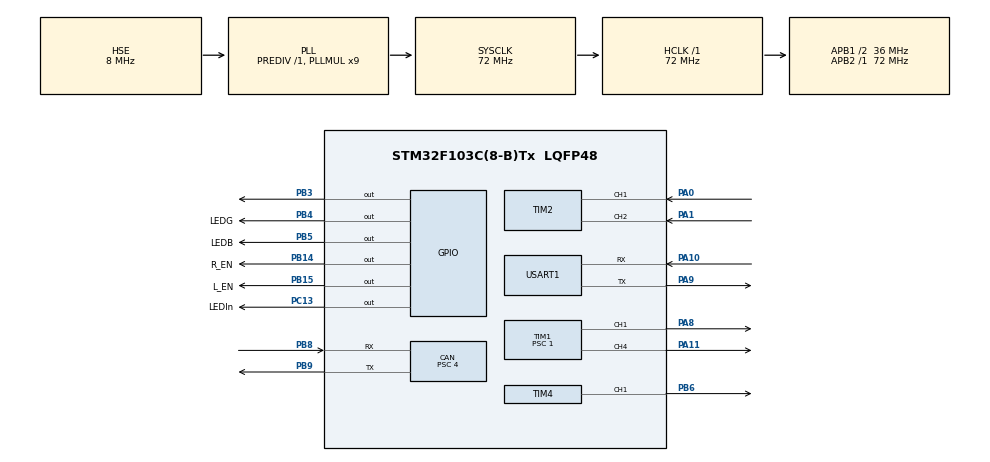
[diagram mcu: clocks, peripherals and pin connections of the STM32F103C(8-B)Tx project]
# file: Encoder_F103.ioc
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CAN.BS1=CAN_BS1_13TQ
CAN.BS2=CAN_BS2_4TQ
CAN.CalculateBaudRate=500000
CAN.CalculateTimeBit=2000
CAN.CalculateTimeQuantum=111.11111111111111
CAN.Prescaler=4
CAN.SJW=CAN_SJW_2TQ
FREERTOS.Tasks01=defaultTask,24,128,StartDefaultTask,Default,NULL,Dynamic,NULL,NULL
FREERTOS.configMAX_TASK_NAME_LEN=32
Mcu.Family=STM32F1
Mcu.Name=STM32F103C(8-B)Tx
Mcu.Package=LQFP48
NVIC.CAN1_RX1_IRQn=true\:5\:0\:false\:false\:true\:true\:true\:true\:true
NVIC.CAN1_SCE_IRQn=true\:5\:0\:false\:false\:true\:true\:true\:true\:true
NVIC.PriorityGroup=NVIC_PRIORITYGROUP_4
NVIC.TIM3_IRQn=true\:15\:0\:false\:false\:true\:false\:true\:true\:true
NVIC.TIM4_IRQn=true\:5\:0\:false\:false\:true\:true\:true\:true\:true
NVIC.TimeBase=TIM3_IRQn
NVIC.TimeBaseIP=TIM3
NVIC.USB_HP_CAN1_TX_IRQn=true\:5\:0\:false\:false\:true\:true\:true\:true\:true
NVIC.USB_LP_CAN1_RX0_IRQn=true\:5\:0\:false\:false\:true\:true\:true\:true\:true
PA0-WKUP.Signal=S_TIM2_CH1_ETR
PA1.Signal=S_TIM2_CH2
PA10.Mode=Asynchronous
PA10.Signal=USART1_RX
PA11.Signal=S_TIM1_CH4
PA13.Mode=Serial_Wire
PA13.Signal=SYS_JTMS-SWDIO
PA14.Mode=Serial_Wire
PA14.Signal=SYS_JTCK-SWCLK
PA8.Signal=S_TIM1_CH1
PA9.Mode=Asynchronous
PA9.Signal=USART1_TX
PB14.GPIO_Label=R_EN
PB14.Signal=GPIO_Output
PB15.GPIO_Label=L_EN
PB15.Signal=GPIO_Output
PB3.Signal=GPIO_Output
PB4.GPIO_Label=LEDG
PB4.Signal=GPIO_Output
PB5.GPIO_Label=LEDB
PB5.Signal=GPIO_Output
PB6.Signal=S_TIM4_CH1
PB8.Mode=CAN_Activate
PB8.Signal=CAN_RX
PB9.Mode=CAN_Activate
PB9.Signal=CAN_TX
PC13-TAMPER-RTC.GPIO_Label=LEDIn
PC13-TAMPER-RTC.Signal=GPIO_Output
PD0-OSC_IN.Mode=HSE-External-Oscillator
PD0-OSC_IN.Signal=RCC_OSC_IN
PD1-OSC_OUT.Mode=HSE-External-Oscillator
PD1-OSC_OUT.Signal=RCC_OSC_OUT
ProjectManager.HeapSize=0x2000
ProjectManager.StackSize=0x400
ProjectManager.TargetToolchain=STM32CubeIDE
RCC.AHBFreq_Value=72000000
RCC.APB1CLKDivider=RCC_HCLK_DIV2
RCC.APB1Freq_Value=36000000
RCC.APB1TimFreq_Value=72000000
RCC.APB2Freq_Value=72000000
RCC.APB2TimFreq_Value=72000000
RCC.HCLKFreq_Value=72000000
RCC.PLLMUL=RCC_PLL_MUL9
RCC.PLLSourceVirtual=RCC_PLLSOURCE_HSE
RCC.SYSCLKFreq_VALUE=72000000
RCC.SYSCLKSource=RCC_SYSCLKSOURCE_PLLCLK
RCC.USBFreq_Value=72000000
SH.S_TIM1_CH1.0=TIM1_CH1,PWM Generation1 CH1
SH.S_TIM1_CH4.0=TIM1_CH4,PWM Generation4 CH4
SH.S_TIM2_CH1_ETR.0=TIM2_CH1,Encoder_Interface
SH.S_TIM2_CH2.0=TIM2_CH2,Encoder_Interface
SH.S_TIM4_CH1.0=TIM4_CH1,PWM Generation1 CH1
TIM1.AutoReloadPreload=TIM_AUTORELOAD_PRELOAD_DISABLE
TIM1.Channel-PWM\ Generation1\ CH1=TIM_CHANNEL_1
TIM1.Channel-PWM\ Generation4\ CH4=TIM_CHANNEL_4
TIM1.Period=7200-1
TIM1.Prescaler=1
TIM2.AutoReloadPreload=TIM_AUTORELOAD_PRELOAD_ENABLE
TIM2.EncoderMode=TIM_ENCODERMODE_TI12
TIM4.Channel-PWM\ Generation1\ CH1=TIM_CHANNEL_1
TIM4.Period=19999
TIM4.Prescaler=71
USART1.VirtualMode=VM_ASYNC
VP_FREERTOS_VS_CMSIS_V2.Mode=CMSIS_V2
VP_SYS_VS_tim3.Mode=TIM3
VP_TIM1_VS_ClockSourceINT.Mode=Internal
VP_TIM4_VS_ClockSourceINT.Mode=Internal
board=custom

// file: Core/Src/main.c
/* USER CODE BEGIN Header */
/**
 ******************************************************************************
 * @file           : main.c
 * @brief          : Main program body
 ******************************************************************************
 * @attention
 *
 * Copyright (c) 2023 STMicroelectronics.
 * All rights reserved.
 *
 * This software is licensed under terms that can be found in the LICENSE file
 * in the root directory of this software component.
 * If no LICENSE file comes with this software, it is provided AS-IS.
 *
 ******************************************************************************
 */
/* USER CODE END Header */
#include "main.h"
#include "cmsis_os.h"

/* USER CODE BEGIN Includes */
#include "stdio.h"
#include "CANCom.h"
#include "Speed_Control/Speed_Control.h"
#include "Servo/Servo.h"

/* USER CODE END Includes */

/* USER CODE BEGIN PTD */
#define PUTCHAR_PROTOTYPE int __io_putchar(int ch)
/* USER CODE END PTD */

CAN_HandleTypeDef hcan;

TIM_HandleTypeDef htim1;
TIM_HandleTypeDef htim2;
TIM_HandleTypeDef htim4;

UART_HandleTypeDef huart1;

/* Definitions for defaultTask */
osThreadId_t defaultTaskHandle;
const osThreadAttr_t defaultTask_attributes = {
  .name = "defaultTask",
  .stack_size = 128 * 4,
  .priority = (osPriority_t) osPriorityNormal,
};

uint8_t RxBuffer[8] = {0};
CAN_RxHeaderTypeDef RxHeader;
uint8_t Turn = 0;
/* USER CODE BEGIN PV */
PUTCHAR_PROTOTYPE {
	/* Place your implementation of fputc here */
	/* e.g. write a character to the USART1 and Loop until the end of transmission */
	HAL_UART_Transmit(&huart1, (uint8_t*) &ch, 1, 0xFFFF);

	return ch;
}

Encoder_HandlerStruct Encoder;
Motor_HandlerStruct Motor;
Servo_HandleStruct Servo;
PID_HandleStruct PID;
SpeedControl_HandleStruct SpeedController;
/* USER CODE END PV */

void SystemClock_Config(void);
static void MX_GPIO_Init(void);
static void MX_TIM2_Init(void);
static void MX_USART1_UART_Init(void);
static void MX_TIM1_Init(void);
static void MX_TIM4_Init(void);
static void MX_CAN_Init(void);
void StartDefaultTask(void *argument);

int main(void)
{

  /* MCU Configuration--------------------------------------------------------*/

  /* Reset of all peripherals, Initializes the Flash interface and the Systick. */
  HAL_Init();

  /* Configure the system clock */
  SystemClock_Config();

  /* Initialize all configured peripherals */
  MX_GPIO_Init();
  MX_TIM2_Init();
  MX_USART1_UART_Init();
  MX_TIM1_Init();
  MX_TIM4_Init();
  MX_CAN_Init();
  /* USER CODE BEGIN 2 */
	CANCom_Init();
	Motor_Init(&Motor, &htim1, TIM_CHANNEL_4, TIM_CHANNEL_1);
	Motor_start(&Motor);
	Encoder_Init(&Encoder, &htim2, TIM_CHANNEL_1, 4, 3, 5, 0.8);
	Encoder_Start(&Encoder);
	Servo_Init(&Servo, &htim4, TIM_CHANNEL_1, 38, 8);
	HAL_StatusTypeDef state = Servo_Start(&Servo);
	if (state != HAL_OK)
		HAL_GPIO_WritePin(LEDB_GPIO_Port, LEDB_Pin, GPIO_PIN_SET);
	/*
	 * PID : 160, 8,8854, 0.04
	 */
	SpeedControl_Init(&SpeedController, &Encoder, &Motor, &PID);
	SpeedControl_setTuning(&SpeedController, 160, 8.8854, 0.045, 0.005);
  /* USER CODE END 2 */

  /* Init scheduler */
  osKernelInitialize();

  /* Create the thread(s) */
  /* creation of defaultTask */
  defaultTaskHandle = osThreadNew(StartDefaultTask, NULL, &defaultTask_attributes);

  /* Start scheduler */
  osKernelStart();

  /* We should never get here as control is now taken by the scheduler */
  /* Infinite loop */
  /* USER CODE BEGIN WHILE */
//  char buffer[30] = {0};
	while (1) {
		HAL_GPIO_TogglePin(LEDB_GPIO_Port, LEDB_Pin);
		HAL_Delay(500);
//	  cnt += htim2.Instance->CNT;
//	  htim2.Instance->CNT = 0;

//	  while ( i >= -20 && i <= 20)
//	  {
//		  i++;
//		  if (i == 21)
//		  {
//			  i = -20;
//		  }
//	  }

//	  cnt = Encoder_GetTotalCount(&Encoder);
//
//	  printf("%ld\r\n",cnt);
//	  Servo_setAngle(&Servo, 15);
//	  HAL_Delay(1000);
//	  cnt = Encoder_GetTotalCount(&Encoder);
//
//	  printf("%ld\r\n",cnt);
//	  Servo_setAngle(&Servo, -15);
//	  HAL_Delay(1000);
//	  HAL_UART_Transmit(&huart1, buffer, sizeof(buffer), 3000);
    /* USER CODE END WHILE */

	}
}

void SystemClock_Config(void)
{
  RCC_OscInitTypeDef RCC_OscInitStruct = {0};
  RCC_ClkInitTypeDef RCC_ClkInitStruct = {0};

  /** Initializes the RCC Oscillators according to the specified parameters
  * in the RCC_OscInitTypeDef structure.
  */
  RCC_OscInitStruct.OscillatorType = RCC_OSCILLATORTYPE_HSE;
  RCC_OscInitStruct.HSEState = RCC_HSE_ON;
  RCC_OscInitStruct.HSEPredivValue = RCC_HSE_PREDIV_DIV1;
  RCC_OscInitStruct.HSIState = RCC_HSI_ON;
  RCC_OscInitStruct.PLL.PLLState = RCC_PLL_ON;
  RCC_OscInitStruct.PLL.PLLSource = RCC_PLLSOURCE_HSE;
  RCC_OscInitStruct.PLL.PLLMUL = RCC_PLL_MUL9;
  if (HAL_RCC_OscConfig(&RCC_OscInitStruct) != HAL_OK)
  {
    Error_Handler();
  }

  /** Initializes the CPU, AHB and APB buses clocks
  */
  RCC_ClkInitStruct.ClockType = RCC_CLOCKTYPE_HCLK|RCC_CLOCKTYPE_SYSCLK
                              |RCC_CLOCKTYPE_PCLK1|RCC_CLOCKTYPE_PCLK2;
  RCC_ClkInitStruct.SYSCLKSource = RCC_SYSCLKSOURCE_PLLCLK;
  RCC_ClkInitStruct.AHBCLKDivider = RCC_SYSCLK_DIV1;
  RCC_ClkInitStruct.APB1CLKDivider = RCC_HCLK_DIV2;
  RCC_ClkInitStruct.APB2CLKDivider = RCC_HCLK_DIV1;

  if (HAL_RCC_ClockConfig(&RCC_ClkInitStruct, FLASH_LATENCY_2) != HAL_OK)
  {
    Error_Handler();
  }
}

static void MX_CAN_Init(void)
{

  hcan.Instance = CAN1;
  hcan.Init.Prescaler = 4;
  hcan.Init.Mode = CAN_MODE_NORMAL;
  hcan.Init.SyncJumpWidth = CAN_SJW_2TQ;
  hcan.Init.TimeSeg1 = CAN_BS1_13TQ;
  hcan.Init.TimeSeg2 = CAN_BS2_4TQ;
  hcan.Init.TimeTriggeredMode = DISABLE;
  hcan.Init.AutoBusOff = DISABLE;
  hcan.Init.AutoWakeUp = DISABLE;
  hcan.Init.AutoRetransmission = DISABLE;
  hcan.Init.ReceiveFifoLocked = DISABLE;
  hcan.Init.TransmitFifoPriority = DISABLE;
  if (HAL_CAN_Init(&hcan) != HAL_OK)
  {
    Error_Handler();
  }

}

static void MX_TIM1_Init(void)
{

  TIM_ClockConfigTypeDef sClockSourceConfig = {0};
  TIM_MasterConfigTypeDef sMasterConfig = {0};
  TIM_OC_InitTypeDef sConfigOC = {0};
  TIM_BreakDeadTimeConfigTypeDef sBreakDeadTimeConfig = {0};

  htim1.Instance = TIM1;
  htim1.Init.Prescaler = 1;
  htim1.Init.CounterMode = TIM_COUNTERMODE_UP;
  htim1.Init.Period = 7200-1;
  htim1.Init.ClockDivision = TIM_CLOCKDIVISION_DIV1;
  htim1.Init.RepetitionCounter = 0;
  htim1.Init.AutoReloadPreload = TIM_AUTORELOAD_PRELOAD_DISABLE;
  if (HAL_TIM_Base_Init(&htim1) != HAL_OK)
  {
    Error_Handler();
  }
  sClockSourceConfig.ClockSource = TIM_CLOCKSOURCE_INTERNAL;
  if (HAL_TIM_ConfigClockSource(&htim1, &sClockSourceConfig) != HAL_OK)
  {
    Error_Handler();
  }
  if (HAL_TIM_PWM_Init(&htim1) != HAL_OK)
  {
    Error_Handler();
  }
  sMasterConfig.MasterOutputTrigger = TIM_TRGO_RESET;
  sMasterConfig.MasterSlaveMode = TIM_MASTERSLAVEMODE_DISABLE;
  if (HAL_TIMEx_MasterConfigSynchronization(&htim1, &sMasterConfig) != HAL_OK)
  {
    Error_Handler();
  }
  sConfigOC.OCMode = TIM_OCMODE_PWM1;
  sConfigOC.Pulse = 0;
  sConfigOC.OCPolarity = TIM_OCPOLARITY_HIGH;
  sConfigOC.OCNPolarity = TIM_OCNPOLARITY_HIGH;
  sConfigOC.OCFastMode = TIM_OCFAST_DISABLE;
  sConfigOC.OCIdleState = TIM_OCIDLESTATE_RESET;
  sConfigOC.OCNIdleState = TIM_OCNIDLESTATE_RESET;
  if (HAL_TIM_PWM_ConfigChannel(&htim1, &sConfigOC, TIM_CHANNEL_1) != HAL_OK)
  {
    Error_Handler();
  }
  if (HAL_TIM_PWM_ConfigChannel(&htim1, &sConfigOC, TIM_CHANNEL_4) != HAL_OK)
  {
    Error_Handler();
  }
  sBreakDeadTimeConfig.OffStateRunMode = TIM_OSSR_DISABLE;
  sBreakDeadTimeConfig.OffStateIDLEMode = TIM_OSSI_DISABLE;
  sBreakDeadTimeConfig.LockLevel = TIM_LOCKLEVEL_OFF;
  sBreakDeadTimeConfig.DeadTime = 0;
  sBreakDeadTimeConfig.BreakState = TIM_BREAK_DISABLE;
  sBreakDeadTimeConfig.BreakPolarity = TIM_BREAKPOLARITY_HIGH;
  sBreakDeadTimeConfig.AutomaticOutput = TIM_AUTOMATICOUTPUT_DISABLE;
  if (HAL_TIMEx_ConfigBreakDeadTime(&htim1, &sBreakDeadTimeConfig) != HAL_OK)
  {
    Error_Handler();
  }
  HAL_TIM_MspPostInit(&htim1);

}

static void MX_TIM2_Init(void)
{

  TIM_Encoder_InitTypeDef sConfig = {0};
  TIM_MasterConfigTypeDef sMasterConfig = {0};

  htim2.Instance = TIM2;
  htim2.Init.Prescaler = 0;
  htim2.Init.CounterMode = TIM_COUNTERMODE_UP;
  htim2.Init.Period = 65535;
  htim2.Init.ClockDivision = TIM_CLOCKDIVISION_DIV1;
  htim2.Init.AutoReloadPreload = TIM_AUTORELOAD_PRELOAD_ENABLE;
  sConfig.EncoderMode = TIM_ENCODERMODE_TI12;
  sConfig.IC1Polarity = TIM_ICPOLARITY_RISING;
  sConfig.IC1Selection = TIM_ICSELECTION_DIRECTTI;
  sConfig.IC1Prescaler = TIM_ICPSC_DIV1;
  sConfig.IC1Filter = 0;
  sConfig.IC2Polarity = TIM_ICPOLARITY_RISING;
  sConfig.IC2Selection = TIM_ICSELECTION_DIRECTTI;
  sConfig.IC2Prescaler = TIM_ICPSC_DIV1;
  sConfig.IC2Filter = 0;
  if (HAL_TIM_Encoder_Init(&htim2, &sConfig) != HAL_OK)
  {
    Error_Handler();
  }
  sMasterConfig.MasterOutputTrigger = TIM_TRGO_RESET;
  sMasterConfig.MasterSlaveMode = TIM_MASTERSLAVEMODE_DISABLE;
  if (HAL_TIMEx_MasterConfigSynchronization(&htim2, &sMasterConfig) != HAL_OK)
  {
    Error_Handler();
  }

}

static void MX_TIM4_Init(void)
{

  TIM_ClockConfigTypeDef sClockSourceConfig = {0};
  TIM_MasterConfigTypeDef sMasterConfig = {0};
  TIM_OC_InitTypeDef sConfigOC = {0};

  htim4.Instance = TIM4;
  htim4.Init.Prescaler = 71;
  htim4.Init.CounterMode = TIM_COUNTERMODE_UP;
  htim4.Init.Period = 19999;
  htim4.Init.ClockDivision = TIM_CLOCKDIVISION_DIV1;
  htim4.Init.AutoReloadPreload = TIM_AUTORELOAD_PRELOAD_DISABLE;
  if (HAL_TIM_Base_Init(&htim4) != HAL_OK)
  {
    Error_Handler();
  }
  sClockSourceConfig.ClockSource = TIM_CLOCKSOURCE_INTERNAL;
  if (HAL_TIM_ConfigClockSource(&htim4, &sClockSourceConfig) != HAL_OK)
  {
    Error_Handler();
  }
  if (HAL_TIM_PWM_Init(&htim4) != HAL_OK)
  {
    Error_Handler();
  }
  sMasterConfig.MasterOutputTrigger = TIM_TRGO_RESET;
  sMasterConfig.MasterSlaveMode = TIM_MASTERSLAVEMODE_DISABLE;
  if (HAL_TIMEx_MasterConfigSynchronization(&htim4, &sMasterConfig) != HAL_OK)
  {
    Error_Handler();
  }
  sConfigOC.OCMode = TIM_OCMODE_PWM1;
  sConfigOC.Pulse = 0;
  sConfigOC.OCPolarity = TIM_OCPOLARITY_HIGH;
  sConfigOC.OCFastMode = TIM_OCFAST_DISABLE;
  if (HAL_TIM_PWM_ConfigChannel(&htim4, &sConfigOC, TIM_CHANNEL_1) != HAL_OK)
  {
    Error_Handler();
  }
  HAL_TIM_MspPostInit(&htim4);

}

static void MX_USART1_UART_Init(void)
{

  huart1.Instance = USART1;
  huart1.Init.BaudRate = 115200;
  huart1.Init.WordLength = UART_WORDLENGTH_8B;
  huart1.Init.StopBits = UART_STOPBITS_1;
  huart1.Init.Parity = UART_PARITY_NONE;
  huart1.Init.Mode = UART_MODE_TX_RX;
  huart1.Init.HwFlowCtl = UART_HWCONTROL_NONE;
  huart1.Init.OverSampling = UART_OVERSAMPLING_16;
  if (HAL_UART_Init(&huart1) != HAL_OK)
  {
    Error_Handler();
  }

}

static void MX_GPIO_Init(void)
{
  GPIO_InitTypeDef GPIO_InitStruct = {0};

  /* GPIO Ports Clock Enable */
  __HAL_RCC_GPIOC_CLK_ENABLE();
  __HAL_RCC_GPIOD_CLK_ENABLE();
  __HAL_RCC_GPIOA_CLK_ENABLE();
  __HAL_RCC_GPIOB_CLK_ENABLE();

  /*Configure GPIO pin Output Level */
  HAL_GPIO_WritePin(LEDIn_GPIO_Port, LEDIn_Pin, GPIO_PIN_RESET);

  /*Configure GPIO pin Output Level */
  HAL_GPIO_WritePin(GPIOB, R_EN_Pin|L_EN_Pin|GPIO_PIN_3|LEDG_Pin
                          |LEDB_Pin, GPIO_PIN_RESET);

  /*Configure GPIO pin : LEDIn_Pin */
  GPIO_InitStruct.Pin = LEDIn_Pin;
  GPIO_InitStruct.Mode = GPIO_MODE_OUTPUT_PP;
  GPIO_InitStruct.Pull = GPIO_NOPULL;
  GPIO_InitStruct.Speed = GPIO_SPEED_FREQ_LOW;
  HAL_GPIO_Init(LEDIn_GPIO_Port, &GPIO_InitStruct);

  /*Configure GPIO pins : R_EN_Pin L_EN_Pin PB3 LEDG_Pin
                           LEDB_Pin */
  GPIO_InitStruct.Pin = R_EN_Pin|L_EN_Pin|GPIO_PIN_3|LEDG_Pin
                          |LEDB_Pin;
  GPIO_InitStruct.Mode = GPIO_MODE_OUTPUT_PP;
  GPIO_InitStruct.Pull = GPIO_NOPULL;
  GPIO_InitStruct.Speed = GPIO_SPEED_FREQ_LOW;
  HAL_GPIO_Init(GPIOB, &GPIO_InitStruct);

}

/* USER CODE BEGIN 4 */

//void HAL_TIM_PeriodElapsedCallback(TIM_HandleTypeDef *htim) {
////	if (htim->Instance == TIM4)
////	{
////		Encoder_Handle(&Encoder);
////	}
////	if (htim == Encoder.Read_htim) {
////		Encoder_Handle(&Encoder);
////	}
//}

void HAL_CAN_RxFifo0FullCallback(CAN_HandleTypeDef *hcan)
{
  HAL_CAN_GetRxMessage(hcan, CAN_FILTER_FIFO0, &RxHeader, RxBuffer);
  int16_t d0,d1;
  sscanf(RxBuffer,"0:%d;1:%d",&d0,&d1);
  if (!Turn && d0 < 100 && d1 < 100) {
	  Turn = 1;
  }
}

/* USER CODE END 4 */

void StartDefaultTask(void *argument)
{
  /* USER CODE BEGIN 5 */
	uint32_t speed = 7;
	SpeedControl_setSpeed(&SpeedController, speed);
	Servo_setAngle(&Servo, -38);
	HAL_GPIO_WritePin(LEDB_GPIO_Port, LEDB_Pin, GPIO_PIN_SET);
	char buf[30] = "";
	uint32_t count = 0;
	int len = 0;
	len = sprintf(buf, "Start task\r\n");
	HAL_UART_Transmit(&huart1, (uint8_t*) buf, len, 100);
	SpeedControl_Start(&SpeedController);
	/* Infinite loop */
	for (;;) {
#if 	LCD_DEBUG
		count = Encoder_GetSpeed_RPS(&Encoder) * 100;
//		count = Encoder_GetTotalCount(&Encoder);
		HAL_GPIO_TogglePin(LEDIn_GPIO_Port, LEDIn_Pin);
		len = sprintf(buf, "Enc:%ld/%ld\r\n", count, speed * 100);
		HAL_UART_Transmit(&huart1, (uint8_t*) buf, len, 100);
		osDelay(200);
#endif
		if (Turn) {
			Servo_setAngle(&Servo, 20);
			Turn = 0;
		}
	}
  /* USER CODE END 5 */
}

void HAL_TIM_PeriodElapsedCallback(TIM_HandleTypeDef *htim)
{
  if (htim->Instance == TIM3) {
    HAL_IncTick();
  }
}

void Error_Handler(void)
{
  /* USER CODE BEGIN Error_Handler_Debug */
	/* User can add his own implementation to report the HAL error return state */
	__disable_irq();
//  printf("Error");
	while (1) {
	}
  /* USER CODE END Error_Handler_Debug */
}
